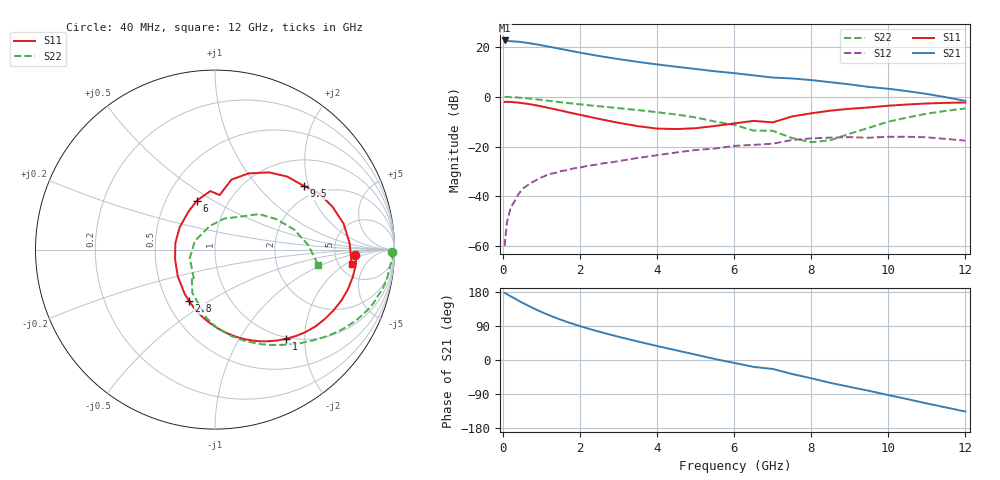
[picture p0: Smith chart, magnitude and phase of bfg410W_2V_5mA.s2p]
! Filename: 25bfg410.001
! BFG410W Field B1
! V1=8.578E-001V,V2=2.000E+000V, I1=7.377E-005A, I2=5.000E-003A
# GHz  S  MA  R 50
!  S11  S21  S12  S22
!Freq(GHz)  Mag  Ang  Mag  Ang  Mag  Ang  Mag  Ang
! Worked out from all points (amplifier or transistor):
!   44 points, 40 MHz to 12 GHz, reference 50 ohm
!   highest |S21| = 22.6 dB at 40 MHz (marker M1)
!   |S21| within 3 dB of that: start of sweep to 1.361 GHz
!   unconditionally stable (mu >= 1): 2.561 GHz to end of sweep
!   at 700 MHz: K = 0.33, MSG = 28.2 dB, |S12| = -34.9 dB
!   at 2.4 GHz: K = 0.96, MSG = 22.0 dB, |S12| = -27.3 dB
!   at 12 GHz: K = 1.59, MAG = 3.5 dB, |S12| = -17.7 dB
!   S11 on the Smith chart (normalised r, x): 40 MHz: 7.96, -1.29; 1 GHz: 0.98, -1.63; 2.8 GHz: 0.64, -0.41; 6 GHz: 0.71, +0.42; 9.5 GHz: 1.65, +1.86; 12 GHz: 6.56, -2.47
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0.04  0.782 -2.3  13.44 177.0  0.001 56.1  0.989 -0.8
0.1  0.79 -5.5  13.2 173.9  0.003 87.7  0.989 -2.9
0.2  0.783 -11.0  12.97 167.8  0.006 82.7  0.976 -6.6
0.3  0.773 -16.6  12.84 162.5  0.008 79.8  0.972 -9.6
0.5  0.742 -27.2  12.4 151.2  0.014 73.2  0.944 -15.8
0.7  0.705 -37.3  11.76 140.8  0.018 67.5  0.914 -21.6
0.9  0.66 -46.8  11.11 131.2  0.022 62.8  0.879 -26.8
1  0.636 -51.3  10.75 126.6  0.024 60.7  0.859 -29.2
1.3  0.569 -63.8  9.706 114.0  0.029 55.4  0.806 -35.6
1.6  0.505 -75.4  8.763 102.7  0.033 51.3  0.758 -41.2
1.9  0.449 -86.0  7.913 92.5  0.037 48.1  0.715 -46.4
2.2  0.4 -96.3  7.175 83.2  0.041 45.6  0.676 -51.2
2.8  0.32 -117.1  5.991 66.4  0.048 41.3  0.609 -60.6
3.5  0.256 -144.1  4.989 48.8  0.059 36.0  0.538 -71.5
4.5  0.224 170.5  3.985 25.4  0.076 25.8  0.438 -88.3
5.5  0.258 125.0  3.233 2.6  0.091 11.8  0.317 -106.6
6  0.291 110.4  2.968 -7.7  0.103 5.9  0.272 -117.7
6.5  0.327 94.6  2.678 -18.2  0.108 -1.0  0.209 -128.1
8.5  0.525 55.0  1.949 -60.4  0.151 -33.7  0.134 103.2
9.5  0.609 35.7  1.568 -81.4  0.15 -53.5  0.238 51.0
10.5  0.697 20.0  1.289 -103.4  0.157 -73.9  0.382 26.3
12  0.765 -5.9  0.824 -136.0  0.131 -112.1  0.58 -8.3
